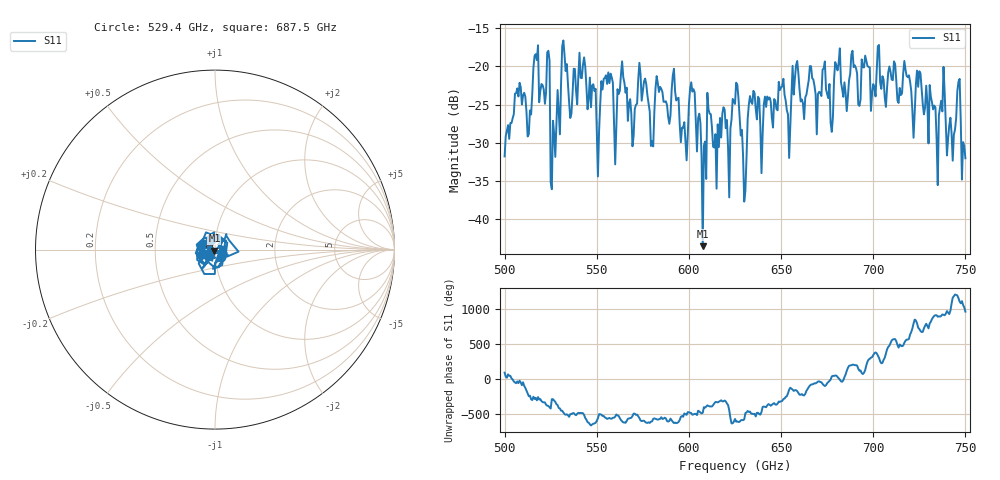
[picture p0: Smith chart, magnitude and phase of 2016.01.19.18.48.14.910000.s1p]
!Created with skrf (http://scikit-rf.org).
# GHz S RI R 50.0
!freq ReS11 ImS11
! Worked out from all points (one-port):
!   401 points, 500 GHz to 750 GHz, reference 50 ohm
!   lowest |S11| = -43.6 dB at 607.5 GHz (marker M1), VSWR 1.01, Z = 49.7 - j0.566 ohm
!   |S11| at or under -10 dB: start of sweep to end of sweep
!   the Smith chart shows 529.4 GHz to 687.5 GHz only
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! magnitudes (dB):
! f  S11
! 500 GHz  -31.8
! 507.5 GHz  -23.9
! 513.1 GHz  -28.9
! 516.9 GHz  -18.4
! 523.1 GHz  -18.1
! 526.2 GHz  -27.1
! 531.2 GHz  -17.3
! 541.9 GHz  -21.5
! 550.6 GHz  -34.5
! 562.5 GHz  -23.2
! 576.2 GHz  -21.6
! 580 GHz  -29.8
! 583.1 GHz  -22.2
! 593.8 GHz  -24.2
! 598.1 GHz  -29.9
! 601.9 GHz  -23.3
! 607.5 GHz  -43.6
! 611.2 GHz  -26.2
! 621.2 GHz  -30.8
! 625 GHz  -24.9
! 630 GHz  -37.8
! 634.4 GHz  -24.9
! 656.2 GHz  -19.9
! 687.5 GHz  -21.0
! 718.8 GHz  -21.4
! 734.4 GHz  -29.5
! 746.2 GHz  -22.0
! 750 GHz  -32.1
